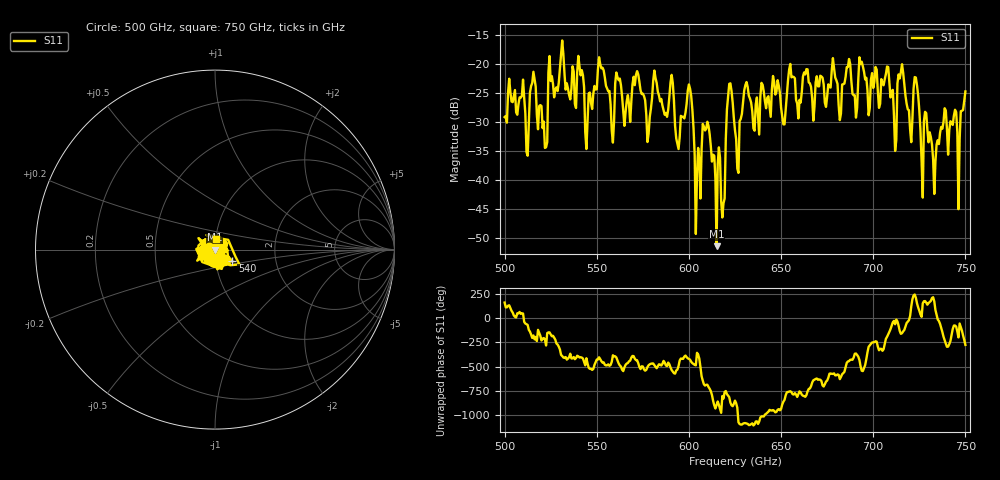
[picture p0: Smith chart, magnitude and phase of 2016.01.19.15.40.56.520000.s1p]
!Created with skrf (http://scikit-rf.org).
# GHz S RI R 50.0
!freq ReS11 ImS11
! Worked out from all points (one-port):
!   401 points, 500 GHz to 750 GHz, reference 50 ohm
!   lowest |S11| = -51.3 dB at 615 GHz (marker M1), VSWR 1.01, Z = 49.7 - j0.0337 ohm
!   |S11| at or under -10 dB: start of sweep to end of sweep
!   S11 on the Smith chart (normalised r, x): 500 GHz: 0.94, +0.02; 540 GHz: 1.20, -0.16; 750 GHz: 1.01, +0.12
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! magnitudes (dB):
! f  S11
! 500 GHz  -29.1
! 512.5 GHz  -35.8
! 515.6 GHz  -21.4
! 521.9 GHz  -34.4
! 525 GHz  -22.9
! 531.2 GHz  -16.0
! 540 GHz  -18.6
! 545 GHz  -29.8
! 551.9 GHz  -20.0
! 558.1 GHz  -31.4
! 562.5 GHz  -22.5
! 578.1 GHz  -32.0
! 590.6 GHz  -21.9
! 593.8 GHz  -33.7
! 600 GHz  -23.5
! 605 GHz  -34.4
! 608.8 GHz  -31.4
! 615 GHz  -51.3
! 618.8 GHz  -44.0
! 621.9 GHz  -23.4
! 625 GHz  -31.4
! 656.2 GHz  -22.2
! 687.5 GHz  -20.0
! 718.8 GHz  -27.8
! 723.1 GHz  -22.3
! 726.2 GHz  -36.9
! 733.1 GHz  -42.3
! 750 GHz  -24.7
